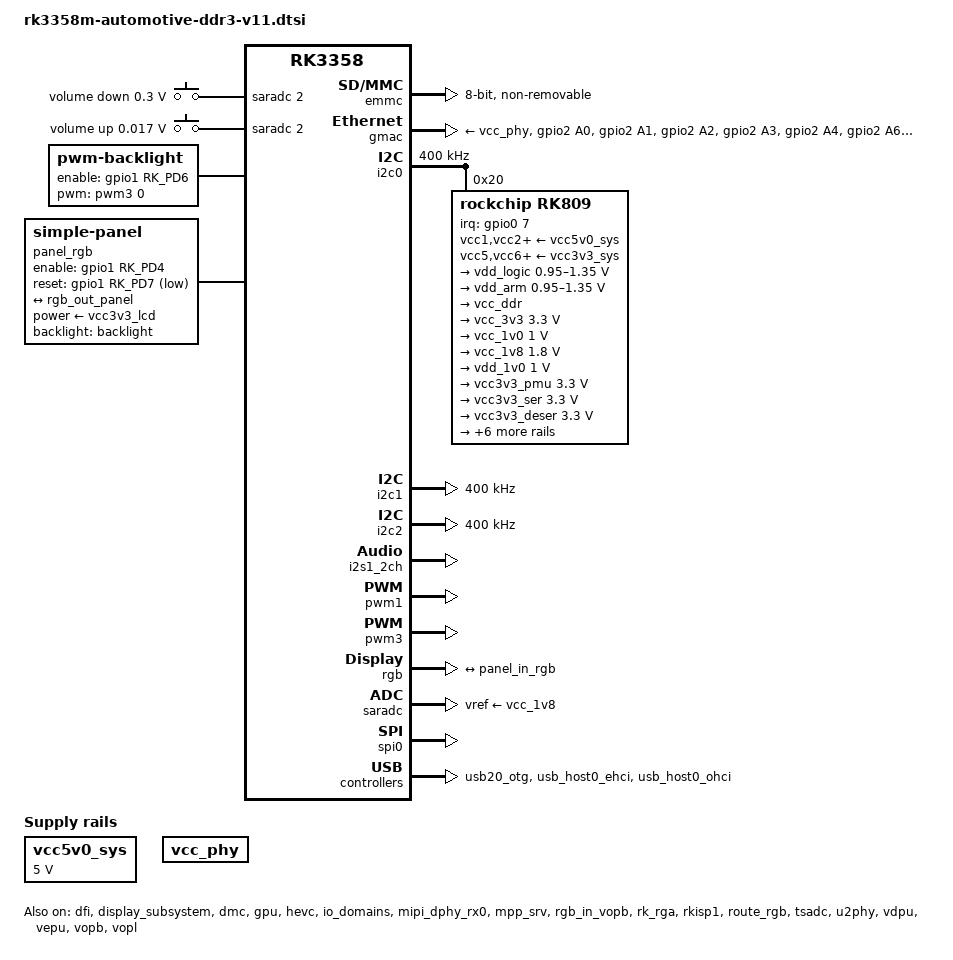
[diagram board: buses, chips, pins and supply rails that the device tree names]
// SPDX-License-Identifier: (GPL-2.0+ OR MIT)
/*
 * Copyright (c) 2024 Rockchip Electronics Co., Ltd.
 *
 */

#include <dt-bindings/gpio/gpio.h>
#include <dt-bindings/pinctrl/rockchip.h>
#include <dt-bindings/input/input.h>
#include <dt-bindings/display/drm_mipi_dsi.h>
#include "rk3358.dtsi"

/ {
	adc-keys {
		compatible = "adc-keys";
		io-channels = <&saradc 2>;
		io-channel-names = "buttons";
		poll-interval = <100>;
		keyup-threshold-microvolt = <1800000>;

		vol-down-key {
			linux,code = <KEY_VOLUMEDOWN>;
			label = "volume down";
			press-threshold-microvolt = <300000>;
		};

		vol-up-key {
			linux,code = <KEY_VOLUMEUP>;
			label = "volume up";
			press-threshold-microvolt = <17000>;
		};
	};

	backlight: backlight {
		compatible = "pwm-backlight";
		pwms = <&pwm3 0 10000000 0>;
		pinctrl-names = "default";
		pinctrl-0 = <&lcd0_pwren &lcd0_rst>;
		enable-gpios = <&gpio1 RK_PD6 GPIO_ACTIVE_HIGH>;
		brightness-levels = <
			  0   1   2   3   4   5   6   7
			  8   9  10  11  12  13  14  15
			 16  17  18  19  20  21  22  23
			 24  25  26  27  28  29  30  31
			 32  33  34  35  36  37  38  39
			 40  41  42  43  44  45  46  47
			 48  49  50  51  52  53  54  55
			 56  57  58  59  60  61  62  63
			 64  65  66  67  68  69  70  71
			 72  73  74  75  76  77  78  79
			 80  81  82  83  84  85  86  87
			 88  89  90  91  92  93  94  95
			 96  97  98  99 100 101 102 103
			104 105 106 107 108 109 110 111
			112 113 114 115 116 117 118 119
			120 121 122 123 124 125 126 127
			128 129 130 131 132 133 134 135
			136 137 138 139 140 141 142 143
			144 145 146 147 148 149 150 151
			152 153 154 155 156 157 158 159
			160 161 162 163 164 165 166 167
			168 169 170 171 172 173 174 175
			176 177 178 179 180 181 182 183
			184 185 186 187 188 189 190 191
			192 193 194 195 196 197 198 199
			200 201 202 203 204 205 206 207
			208 209 210 211 212 213 214 215
			216 217 218 219 220 221 222 223
			224 225 226 227 228 229 230 231
			232 233 234 235 236 237 238 239
			240 241 242 243 244 245 246 247
			248 249 250 251 252 253 254 255>;
		default-brightness-level = <60>;
	};

	/* The THine 827-Q (rgb to dual lvds) don't need driver */
	panel_rgb: panel-rgb {
		compatible = "simple-panel";
		#address-cells = <1>;
		#size-cells = <0>;

		pinctrl-names = "default";
		pinctrl-0 = <&pwdn_rgb>; /* This the pwdn of THine-827-Q */
		power-supply = <&vcc3v3_lcd>;
		backlight = <&backlight>;
		enable-gpios = <&gpio1 RK_PD4 GPIO_ACTIVE_HIGH>;
		reset-gpios = <&gpio1 RK_PD7 GPIO_ACTIVE_LOW>;
		prepare-delay-ms = <0>;
		reset-delay-ms = <0>;
		init-delay-ms = <0>;
		enable-delay-ms = <5>;
		disable-delay-ms = <10>;
		unprepare-delay-ms = <0>;

		width-mm = <292>;
		height-mm = <109>;

		bus-format = <MEDIA_BUS_FMT_RGB888_1X24>;

		display-timings {
			native-mode = <&timing1>;

			timing1: timing1 {
				clock-frequency = <88200000>;
				hactive = <1920>;
				vactive = <720>;
				hfront-porch = <40>;
				hsync-len = <20>;
				hback-porch = <24>;
				vfront-porch = <5>;
				vsync-len = <4>;
				vback-porch = <4>;
				hsync-active = <0>;
				vsync-active = <0>;
				de-active = <0>;
				pixelclk-active = <1>;
			};
		};

		ports {
			#address-cells = <1>;
			#size-cells = <0>;

			port@0 {
				reg = <0>;
				#address-cells = <1>;
				#size-cells = <0>;

				panel_in_rgb: endpoint@0 {
					reg = <0>;
					remote-endpoint = <&rgb_out_panel>;
				};
			};
		};
	};

	rk809_sound: rk809-sound {
		status = "okay";
		compatible = "rockchip,multicodecs-card";
		rockchip,card-name = "rockchip-rk809";
		poll-interval = <100>;
		rockchip,format = "i2s";
		rockchip,mclk-fs = <256>;
		rockchip,cpu = <&i2s1_2ch>;
		rockchip,codec = <&rk809_codec>;
	};

	vcc5v0_sys: vcc5v0-sys {
		compatible = "regulator-fixed";
		regulator-name = "vcc5v0_sys";
		regulator-always-on;
		regulator-boot-on;
		regulator-min-microvolt = <5000000>;
		regulator-max-microvolt = <5000000>;
	};

	vcc_phy: vcc-phy {
		compatible = "regulator-fixed";
		regulator-name = "vcc_phy";
		regulator-always-on;
		regulator-boot-on;
	};

	/* It's just for compatibility with SDK script checks. */
	wireless-bluetooth {
		status = "disabled";
	};
};

&cpu0 {
	cpu-supply = <&vdd_arm>;
};

&dfi {
	status = "okay";
};

&display_subsystem {
	status = "okay";
};

&dmc {
	center-supply = <&vdd_logic>;
	status = "okay";
};

&emmc {
	bus-width = <8>;
	cap-mmc-highspeed;
	mmc-hs200-1_8v;
	supports-emmc;
	disable-wp;
	non-removable;
	num-slots = <1>;
	status = "okay";
};

&gmac {
	phy-supply = <&vcc_phy>;
	clock_in_out = "output";
	snps,reset-gpio = <&gpio2 12 GPIO_ACTIVE_LOW>;
	snps,reset-active-low;
	snps,reset-delays-us = <0 50000 50000>;
	pinctrl-names = "default";
	pinctrl-0 = <&rmii_pins_fixed &mac_refclk_12ma>;
	status = "okay";
};

&gpu {
	mali-supply = <&vdd_logic>;
	status = "okay";
};

&hevc {
	status = "okay";
};

&hevc_mmu {
	status = "okay";
};

&i2c0 {
	status = "okay";
	clock-frequency = <400000>;

	rk809: pmic@20 {
		compatible = "rockchip,rk809";
		reg = <0x20>;
		interrupt-parent = <&gpio0>;
		interrupts = <7 IRQ_TYPE_LEVEL_LOW>;
		pinctrl-names = "default", "pmic-sleep",
				"pmic-power-off", "pmic-reset";
		pinctrl-0 = <&pmic_int>;
		pinctrl-1 = <&soc_slppin_slp>;
		pinctrl-2 = <&soc_slppin_gpio>;
		pinctrl-3 = <&soc_slppin_rst>;
		rockchip,system-power-controller;
		wakeup-source;
		#clock-cells = <1>;
		clock-output-names = "rk808-clkout1", "rk808-clkout2";
		//fb-inner-reg-idxs = <2>;
		/* 1: rst regs (default in codes), 0: rst the pmic */
		pmic-reset-func = <1>;

		vcc1-supply = <&vcc5v0_sys>;
		vcc2-supply = <&vcc5v0_sys>;
		vcc3-supply = <&vcc5v0_sys>;
		vcc4-supply = <&vcc5v0_sys>;
		vcc5-supply = <&vcc3v3_sys>;
		vcc6-supply = <&vcc3v3_sys>;
		vcc7-supply = <&vcc3v3_sys>;
		vcc8-supply = <&vcc3v3_sys>;
		vcc9-supply = <&vcc5v0_sys>;

		pwrkey {
			status = "okay";
		};

		pinctrl_rk8xx: pinctrl_rk8xx {
			gpio-controller;
			#gpio-cells = <2>;

			rk817_slppin_null: rk817_slppin_null {
				pins = "gpio_slp";
				function = "pin_fun0";
			};

			rk817_slppin_slp: rk817_slppin_slp {
				pins = "gpio_slp";
				function = "pin_fun1";
			};

			rk817_slppin_pwrdn: rk817_slppin_pwrdn {
				pins = "gpio_slp";
				function = "pin_fun2";
			};

			rk817_slppin_rst: rk817_slppin_rst {
				pins = "gpio_slp";
				function = "pin_fun3";
			};
		};

		regulators {
			vdd_logic: DCDC_REG1 {
				regulator-always-on;
				regulator-boot-on;
				regulator-min-microvolt = <950000>;
				regulator-max-microvolt = <1350000>;
				regulator-ramp-delay = <6001>;
				regulator-initial-mode = <0x2>;
				regulator-name = "vdd_logic";
				regulator-state-mem {
					regulator-on-in-suspend;
					regulator-suspend-microvolt = <950000>;
				};
			};

			vdd_arm: DCDC_REG2 {
				regulator-always-on;
				regulator-boot-on;
				regulator-min-microvolt = <950000>;
				regulator-max-microvolt = <1350000>;
				regulator-ramp-delay = <6001>;
				regulator-initial-mode = <0x2>;
				regulator-name = "vdd_arm";
				regulator-state-mem {
					regulator-off-in-suspend;
					regulator-suspend-microvolt = <950000>;
				};
			};

			vcc_ddr: DCDC_REG3 {
				regulator-always-on;
				regulator-boot-on;
				regulator-name = "vcc_ddr";
				regulator-initial-mode = <0x2>;
				regulator-state-mem {
					regulator-on-in-suspend;
				};
			};

			vcc_3v3: DCDC_REG4 {
				regulator-always-on;
				regulator-boot-on;
				regulator-min-microvolt = <3300000>;
				regulator-max-microvolt = <3300000>;
				regulator-initial-mode = <0x2>;
				regulator-name = "vcc_3v3";
				regulator-state-mem {
					regulator-on-in-suspend;
					regulator-suspend-microvolt = <3300000>;
				};
			};

			vcc_1v0: LDO_REG1 {
				regulator-always-on;
				regulator-boot-on;
				regulator-min-microvolt = <1000000>;
				regulator-max-microvolt = <1000000>;
				regulator-name = "vcc_1v0";
				regulator-state-mem {
					regulator-on-in-suspend;
					regulator-suspend-microvolt = <1000000>;
				};
			};

			vcc_1v8: LDO_REG2 {
				regulator-always-on;
				regulator-boot-on;
				regulator-min-microvolt = <1800000>;
				regulator-max-microvolt = <1800000>;

				regulator-name = "vcc_1v8";
				regulator-state-mem {
					regulator-on-in-suspend;
					regulator-suspend-microvolt = <1800000>;
				};
			};

			vdd_1v0: LDO_REG3 {
				regulator-always-on;
				regulator-boot-on;
				regulator-min-microvolt = <1000000>;
				regulator-max-microvolt = <1000000>;

				regulator-name = "vdd_1v0";
				regulator-state-mem {
					regulator-on-in-suspend;
					regulator-suspend-microvolt = <1000000>;
				};
			};

			vcc3v3_pmu: LDO_REG4 {
				regulator-always-on;
				regulator-boot-on;
				regulator-min-microvolt = <3300000>;
				regulator-max-microvolt = <3300000>;

				regulator-name = "vcc3v3_pmu";
				regulator-state-mem {
					regulator-on-in-suspend;
					regulator-suspend-microvolt = <3000000>;

				};
			};

			vcc3v3_ser: LDO_REG5 {
				regulator-always-on;
				regulator-boot-on;
				regulator-min-microvolt = <3300000>;
				regulator-max-microvolt = <3300000>;

				regulator-name = "vcc3v3_ser";
				regulator-state-mem {
					regulator-on-in-suspend;
					regulator-suspend-microvolt = <3300000>;
				};
			};

			vcc3v3_deser: LDO_REG6 {
				regulator-min-microvolt = <3300000>;
				regulator-max-microvolt = <3300000>;
				regulator-boot-off;

				regulator-name = "vcc3v3_deser";
				regulator-state-mem {
					regulator-off-in-suspend;
					regulator-suspend-microvolt = <3300000>;

				};
			};

			vcc1v8_thc: LDO_REG7 {
				regulator-boot-on;
				regulator-min-microvolt = <1800000>;
				regulator-max-microvolt = <1800000>;

				regulator-name = "vcc1v8_thc";
				regulator-state-mem {
					regulator-off-in-suspend;
					regulator-suspend-microvolt = <1800000>;
				};
			};

			vcc1v8_ser: LDO_REG8 {
				regulator-always-on;
				regulator-boot-on;
				regulator-min-microvolt = <1800000>;
				regulator-max-microvolt = <1800000>;

				regulator-name = "vcc1v8_ser";
				regulator-state-mem {
					regulator-on-in-suspend;
					regulator-suspend-microvolt = <1800000>;
				};
			};

			vdd1v2_ser: LDO_REG9 {
				regulator-always-on;
				regulator-boot-on;
				regulator-min-microvolt = <1200000>;
				regulator-max-microvolt = <1200000>;

				regulator-name = "vdd1v2_ser";
				regulator-state-mem {
					regulator-off-in-suspend;
					regulator-suspend-microvolt = <1200000>;
				};
			};

			vcc3v3_sys: DCDC_REG5 {
				regulator-always-on;
				regulator-boot-on;
				regulator-min-microvolt = <3300000>;
				regulator-max-microvolt = <3300000>;
				regulator-name = "vcc3v3_sys";
				regulator-state-mem {
					regulator-on-in-suspend;
					regulator-suspend-microvolt = <3300000>;
				};
			};

			vcc5v0_host: SWITCH_REG1 {
				regulator-always-on;
				regulator-boot-on;
				regulator-name = "vcc5v0_host";
			};

			vcc3v3_lcd: SWITCH_REG2 {
				regulator-boot-on;
				regulator-name = "vcc3v3_lcd";
			};
		};

		rk809_codec: codec {
			#sound-dai-cells = <0>;
			compatible = "rockchip,rk809-codec", "rockchip,rk817-codec";
			clocks = <&cru SCLK_I2S1_OUT>;
			clock-names = "mclk";
			pinctrl-names = "default";
			pinctrl-0 = <&i2s1_2ch_mclk>;
			hp-volume = <20>;
			spk-volume = <3>;
			status = "okay";
		};
	};
};

&i2c1 {
	status = "okay";
	clock-frequency = <400000>;

	/* These are relatively safe rise/fall times; TODO: measure */
	i2c-scl-falling-time-ns = <50>;
	i2c-scl-rising-time-ns = <300>;
};

&i2c2 {
	status = "okay";
	clock-frequency = <400000>;
};

&i2s1_2ch {
	status = "okay";
	#sound-dai-cells = <0>;
};

&io_domains {
	status = "okay";

	vccio1-supply = <&vcc_3v3>;
	vccio2-supply = <&vcc_3v3>;
	vccio3-supply = <&vcc_3v3>;
	vccio4-supply = <&vcc3v3_pmu>;
	vccio5-supply = <&vcc3v3_pmu>;
};

&isp_mmu {
	status = "okay";
};

&mipi_dphy_rx0 {
	status = "okay";

	ports {
		#address-cells = <1>;
		#size-cells = <0>;

		port@0 {
			reg = <0>;
			#address-cells = <1>;
			#size-cells = <0>;

			mipi_in_ucam: endpoint@1 {
				reg = <1>;
			//	remote-endpoint = <&ucam_out>;
				data-lanes = <1 2>;
			};
		};

		port@1 {
			reg = <1>;
			#address-cells = <1>;
			#size-cells = <0>;

			dphy_rx0_out: endpoint@0 {
				reg = <0>;
				remote-endpoint = <&isp0_mipi_in>;
			};
		};
	};
};

&mpp_srv {
	status = "okay";
};

&pinctrl {
	gmac {
		rmii_pins_fixed: rmii-pins-fixed {
			rockchip,pins =
				<2 RK_PA0 2 &pcfg_pull_none_12ma>, /* mac_txen */
				<2 RK_PA1 2 &pcfg_pull_none_12ma>, /* mac_txd1 */
				<2 RK_PA2 2 &pcfg_pull_none_12ma>, /* mac_txd0 */
				<2 RK_PA3 2 &pcfg_pull_none>, /* mac_rxd0 */
				<2 RK_PA4 2 &pcfg_pull_none>, /* mac_rxd1 */
				//<2 RK_PA5 2 &pcfg_pull_none>, /* mac_rxer */
				<2 RK_PA6 2 &pcfg_pull_none>, /* mac_rxdv */
				<2 RK_PA7 2 &pcfg_pull_none>, /* mac_mdio */
				<2 RK_PB1 2 &pcfg_pull_none>; /* mac_mdc */
		};
	};

	lcd {
		lcd0_pwren: lcd0-pwren {
			rockchip,pins = <1 RK_PD6 RK_FUNC_GPIO &pcfg_output_high>;
		};
		lcd0_rst: lcd0-rst {
			rockchip,pins = <1 RK_PD7 RK_FUNC_GPIO &pcfg_output_high>;
		};
		pwdn_rgb: pwdn-rgb {
			rockchip,pins = <1 RK_PD4 RK_FUNC_GPIO &pcfg_output_high>;
		};
	};

	pmic {
		pmic_int: pmic_int {
			rockchip,pins =
				<0 RK_PA7 RK_FUNC_GPIO &pcfg_pull_up>;
		};

		soc_slppin_gpio: soc_slppin_gpio {
			rockchip,pins =
				<0 RK_PA4 RK_FUNC_GPIO &pcfg_output_low>;
		};

		soc_slppin_slp: soc_slppin_slp {
			rockchip,pins =
				<0 RK_PA4 1 &pcfg_pull_none>;
		};

		soc_slppin_rst: soc_slppin_rst {
			rockchip,pins =
				<0 RK_PA4 2 &pcfg_pull_none>;
		};
	};
};

&pmu_io_domains {
	status = "okay";

	pmuio1-supply = <&vcc3v3_pmu>;
	pmuio2-supply = <&vcc3v3_pmu>;
};

&pwm1 {
	status = "okay";
};

&pwm3 {
	status = "okay";
};

&rgb {
	status = "okay";

	#address-cells = <1>;
	#size-cells = <0>;

	/delete-property/ phys;
	/delete-property/ phy-names;

	pinctrl-0 = <&lcdc_m0_rgb_pins>;
	pinctrl-1 = <&lcdc_m0_sleep_pins>;

	ports {
		port@1 {
			reg = <1>;
			#address-cells = <1>;
			#size-cells = <0>;

			rgb_out_panel: endpoint@0 {
				reg = <0>;
				remote-endpoint = <&panel_in_rgb>;
			};
		};
	};
};

&rgb_in_vopb {
	status = "okay";
};

&rgb_in_vopl {
	status = "disabled";
};

&rk_rga {
	status = "okay";
};

&rkisp1 {
	status = "okay";

	port {
		#address-cells = <1>;
		#size-cells = <0>;

		isp0_mipi_in: endpoint@0 {
			reg = <0>;
			remote-endpoint = <&dphy_rx0_out>;
		};
	};
};

&route_rgb {
	connect = <&vopb_out_rgb>;
	status = "okay";
};

&saradc {
	status = "okay";
	vref-supply = <&vcc_1v8>;
};

&spi0 {
	status = "okay";
};

&tsadc {
	pinctrl-names = "gpio", "otpout";
	pinctrl-0 = <&tsadc_otp_gpio>;
	pinctrl-1 = <&tsadc_otp_out>;
	status = "okay";
};

&u2phy {
	status = "okay";

	u2phy_host: host-port {
		status = "okay";
		phy-supply = <&vcc5v0_host>;
	};

	u2phy_otg: otg-port {
		status = "okay";
	};
};

&usb20_otg {
	status = "okay";
};

&usb_host0_ehci {
	status = "okay";
};

&usb_host0_ohci {
	status = "okay";
};

&vdpu {
	status = "okay";
};

&vepu {
	status = "okay";
};

&vopb {
	status = "okay";
};

&vopb_mmu {
	status = "okay";
};

&vopl {
	status = "okay";
};

&vopl_mmu {
	status = "okay";
};

&vpu_mmu {
	status = "okay";
};
